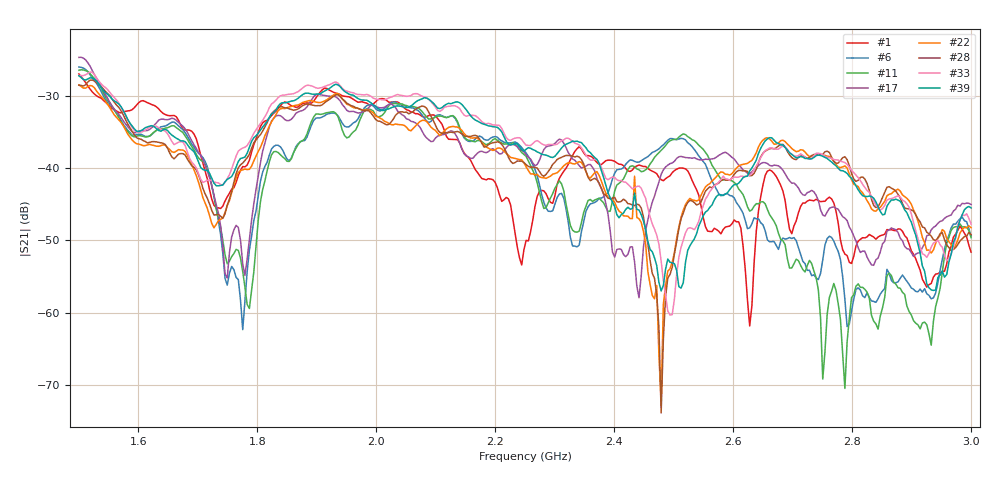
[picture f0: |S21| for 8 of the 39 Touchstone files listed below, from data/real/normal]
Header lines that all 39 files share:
# HZ S RI R 50
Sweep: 1.5 GHz to 3 GHz
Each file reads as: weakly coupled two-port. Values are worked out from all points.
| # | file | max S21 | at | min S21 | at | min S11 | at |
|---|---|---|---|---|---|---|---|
| 1 | Normal_001.s2p | -26.90 dB | 1.5 GHz | -61.9 dB | 2.628 GHz | -35.6 dB | 2.233 GHz |
| 2 | Normal_002.s2p | -27.90 dB | 1.519 GHz | -69.0 dB | 2.836 GHz | -49.7 dB | 2.23 GHz |
| 3 | Normal_009.s2p | -26.68 dB | 1.504 GHz | -64.2 dB | 2.929 GHz | -44.3 dB | 2.23 GHz |
| 4 | Normal_013.s2p | -25.72 dB | 1.5 GHz | -68.7 dB | 2.795 GHz | -53.9 dB | 2.23 GHz |
| 5 | Normal_015.s2p | -25.66 dB | 1.507 GHz | -67.3 dB | 1.775 GHz | -48.8 dB | 2.23 GHz |
| 6 | Normal_019.s2p | -25.94 dB | 1.5 GHz | -62.4 dB | 1.775 GHz | -37.6 dB | 2.23 GHz |
| 7 | Normal_026.s2p | -25.96 dB | 1.5 GHz | -57.0 dB | 1.775 GHz | -36.0 dB | 2.23 GHz |
| 8 | Normal_027.s2p | -25.88 dB | 1.504 GHz | -63.6 dB | 1.749 GHz | -40.9 dB | 2.23 GHz |
| 9 | Normal_028.s2p | -25.85 dB | 1.504 GHz | -72.5 dB | 2.918 GHz | -39.8 dB | 2.23 GHz |
| 10 | Normal_033.s2p | -26.85 dB | 1.504 GHz | -73.4 dB | 1.79 GHz | -38.3 dB | 2.23 GHz |
| 11 | Normal_035.s2p | -26.32 dB | 1.504 GHz | -70.5 dB | 2.788 GHz | -42.3 dB | 2.23 GHz |
| 12 | Normal_036.s2p | -25.62 dB | 1.504 GHz | -102.0 dB | 2.784 GHz | -41.9 dB | 2.23 GHz |
| 13 | Normal_039.s2p | -26.30 dB | 1.5 GHz | -75.9 dB | 2.751 GHz | -39.3 dB | 2.23 GHz |
| 14 | Normal_040.s2p | -26.04 dB | 1.5 GHz | -66.1 dB | 2.669 GHz | -39.2 dB | 2.23 GHz |
| 15 | Normal_042.s2p | -25.22 dB | 1.504 GHz | -59.1 dB | 1.746 GHz | -50.8 dB | 2.23 GHz |
| 16 | Normal_047.s2p | -24.78 dB | 1.5 GHz | -66.4 dB | 2.419 GHz | -48.8 dB | 2.23 GHz |
| 17 | Normal_048.s2p | -24.59 dB | 1.504 GHz | -57.9 dB | 2.442 GHz | -44.2 dB | 2.23 GHz |
| 18 | Normal_050.s2p | -25.02 dB | 1.504 GHz | -62.3 dB | 1.794 GHz | -52.1 dB | 2.23 GHz |
| 19 | Normal_052.s2p | -25.75 dB | 1.5 GHz | -61.3 dB | 1.757 GHz | -47.3 dB | 2.23 GHz |
| 20 | Normal_054.s2p | -25.39 dB | 1.5 GHz | -66.2 dB | 1.779 GHz | -56.8 dB | 2.23 GHz |
| 21 | Normal_056.s2p | -25.85 dB | 1.504 GHz | -68.9 dB | 1.794 GHz | -46.9 dB | 2.23 GHz |
| 22 | Normal_061.s2p | -28.43 dB | 1.5 GHz | -72.4 dB | 2.479 GHz | -33.5 dB | 2.23 GHz |
| 23 | Normal_062.s2p | -28.47 dB | 1.519 GHz | -67.2 dB | 2.937 GHz | -32.9 dB | 1.504 GHz |
| 24 | Normal_065.s2p | -27.98 dB | 1.519 GHz | -60.5 dB | 2.967 GHz | -34.4 dB | 1.504 GHz |
| 25 | Normal_067.s2p | -28.68 dB | 1.5 GHz | -67.7 dB | 2.479 GHz | -39.5 dB | 1.507 GHz |
| 26 | Normal_069.s2p | -28.91 dB | 1.522 GHz | -60.2 dB | 2.483 GHz | -33.0 dB | 2.23 GHz |
| 27 | Normal_071.s2p | -28.39 dB | 1.519 GHz | -63.2 dB | 2.475 GHz | -33.5 dB | 2.23 GHz |
| 28 | Normal_072.s2p | -27.74 dB | 1.522 GHz | -73.9 dB | 2.479 GHz | -33.0 dB | 2.23 GHz |
| 29 | Normal_073.s2p | -27.78 dB | 1.522 GHz | -71.9 dB | 2.479 GHz | -33.7 dB | 2.23 GHz |
| 30 | Normal_075.s2p | -27.45 dB | 1.522 GHz | -64.9 dB | 2.479 GHz | -33.8 dB | 2.23 GHz |
| 31 | Normal_078.s2p | -27.82 dB | 1.522 GHz | -68.7 dB | 2.483 GHz | -33.9 dB | 2.23 GHz |
| 32 | Normal_079.s2p | -27.71 dB | 1.522 GHz | -68.7 dB | 2.479 GHz | -33.6 dB | 2.23 GHz |
| 33 | Normal_081.s2p | -26.64 dB | 1.519 GHz | -60.3 dB | 2.494 GHz | -33.6 dB | 2.084 GHz |
| 34 | Normal_092.s2p | -27.16 dB | 1.5 GHz | -64.6 dB | 2.505 GHz | -33.7 dB | 2.084 GHz |
| 35 | Normal_093.s2p | -27.49 dB | 1.5 GHz | -70.0 dB | 2.509 GHz | -32.7 dB | 2.084 GHz |
| 36 | Normal_094.s2p | -27.17 dB | 1.519 GHz | -69.9 dB | 2.509 GHz | -33.1 dB | 2.084 GHz |
| 37 | Normal_095.s2p | -27.31 dB | 1.5 GHz | -58.8 dB | 2.505 GHz | -34.0 dB | 2.084 GHz |
| 38 | Normal_099.s2p | -27.26 dB | 1.5 GHz | -65.1 dB | 2.501 GHz | -34.9 dB | 2.084 GHz |
| 39 | Normal_100.s2p | -27.16 dB | 1.5 GHz | -57.0 dB | 2.479 GHz | -35.9 dB | 2.084 GHz |
